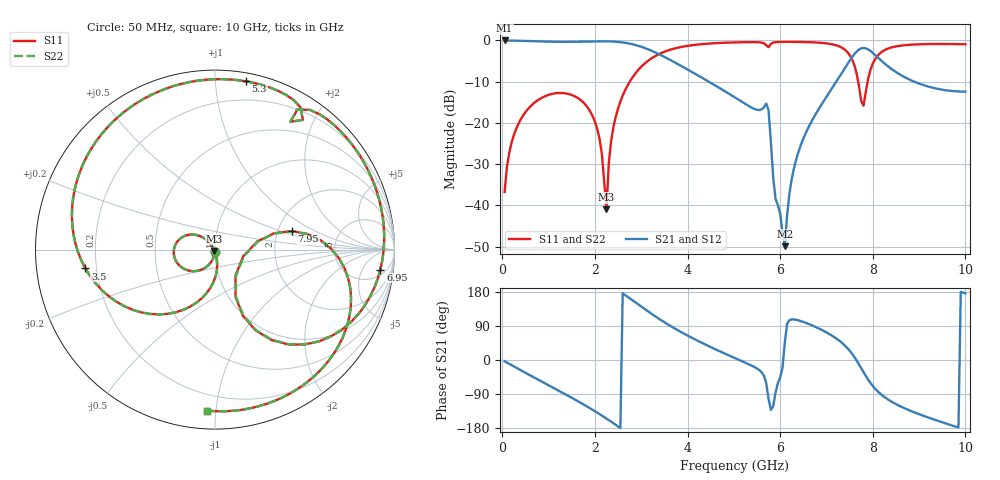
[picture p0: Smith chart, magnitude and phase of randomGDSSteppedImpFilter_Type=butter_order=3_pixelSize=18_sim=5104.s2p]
! freq	dB(S11)	phase(S11)	dB(S12)	phase(S12)
!  dB(S21)	phase(S21)	dB(S22)	phase(S22)
!S-par simulation data
#  GHz  S  DB  R 50
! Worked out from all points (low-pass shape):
!   200 points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, 50 MHz to 10 GHz, reference 50 ohm
!   highest |S21| = -0.01 dB at 50 MHz (marker M1); lowest = -49.9 dB at 6.1 GHz (marker M2)
!   |S21| within 3 dB of the highest: start of sweep to 3.323 GHz; 7.627 GHz to 7.999 GHz (371.6 MHz wide, 4.76 % of centre)
!   lowest |S11| = -40.9 dB at 2.25 GHz (marker M3), VSWR 1.02, Z = 49.6 - j0.801 ohm
!   |S11| at or under -10 dB: start of sweep to 2.752 GHz; 7.685 GHz to 7.889 GHz (203.9 MHz wide, 2.62 % of centre)
!   |S22| runs from -41.1 to -0.3 dB; largest |S21 - S12| = 0
!   S11 on the Smith chart (normalised r, x): 50 MHz: 1.00, -0.03; 3.5 GHz: 0.16, -0.07; 5.3 GHz: 0.06, +1.20; 6.95 GHz: 7, -12; 7.95 GHz: 2.39, +0.61; 10 GHz: 0.10, -0.95
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0.05  -36.71 -93.1  -0.01 -3.4  -0.01 -3.4  -36.71 -93.1
0.55  -16.69 -127.5  -0.15 -37.1  -0.15 -37.1  -16.69 -127.5
1.75  -15.03 153.3  -0.29 -117.0  -0.29 -117.0  -15.03 153.2
2.1  -23.85 130.8  -0.21 -142.7  -0.21 -142.7  -23.85 130.5
2.25  -40.90 -116.4  -0.21 -154.5  -0.21 -154.5  -41.14 -115.2
2.35  -24.40 -79.6  -0.24 -162.7  -0.24 -162.7  -24.41 -79.2
2.55  -14.81 -92.8  -0.41 -179.6  -0.41 -179.6  -14.82 -92.7
3.4  -3.22 -164.0  -3.42 107.4  -3.42 107.4  -3.22 -164.0
3.5  -2.74 -171.7  -3.98 99.6  -3.98 99.6  -2.74 -171.6
5.05  -0.47 93.0  -14.00 3.6  -14.00 3.6  -0.47 93.1
5.3  -0.42 79.6  -15.75 -10.0  -15.75 -10.0  -0.42 79.6
5.75  -1.64 59.4  -16.95 -103.3  -16.95 -103.3  -1.66 59.5
5.9  -0.42 52.4  -38.37 -86.6  -38.37 -86.6  -0.42 52.5
6.1  -0.34 40.7  -49.86 45.7  -49.86 45.7  -0.34 40.8
6.3  -0.34 29.9  -30.87 107.0  -30.87 107.0  -0.34 30.0
6.7  -0.45 8.0  -19.18 90.8  -19.18 90.8  -0.45 8.1
6.95  -0.65 -6.9  -14.54 76.2  -14.54 76.2  -0.65 -6.7
7.5  -3.53 -52.4  -4.93 24.7  -4.93 24.7  -3.52 -52.2
7.8  -15.82 -13.2  -1.83 -32.0  -1.83 -32.0  -15.68 -13.4
7.95  -7.13 13.6  -2.56 -60.5  -2.56 -60.5  -7.12 13.3
8.35  -1.89 -19.5  -6.46 -105.8  -6.46 -105.8  -1.89 -19.5
10  -0.93 -92.9  -12.41 175.9  -12.41 175.9  -0.93 -92.9
